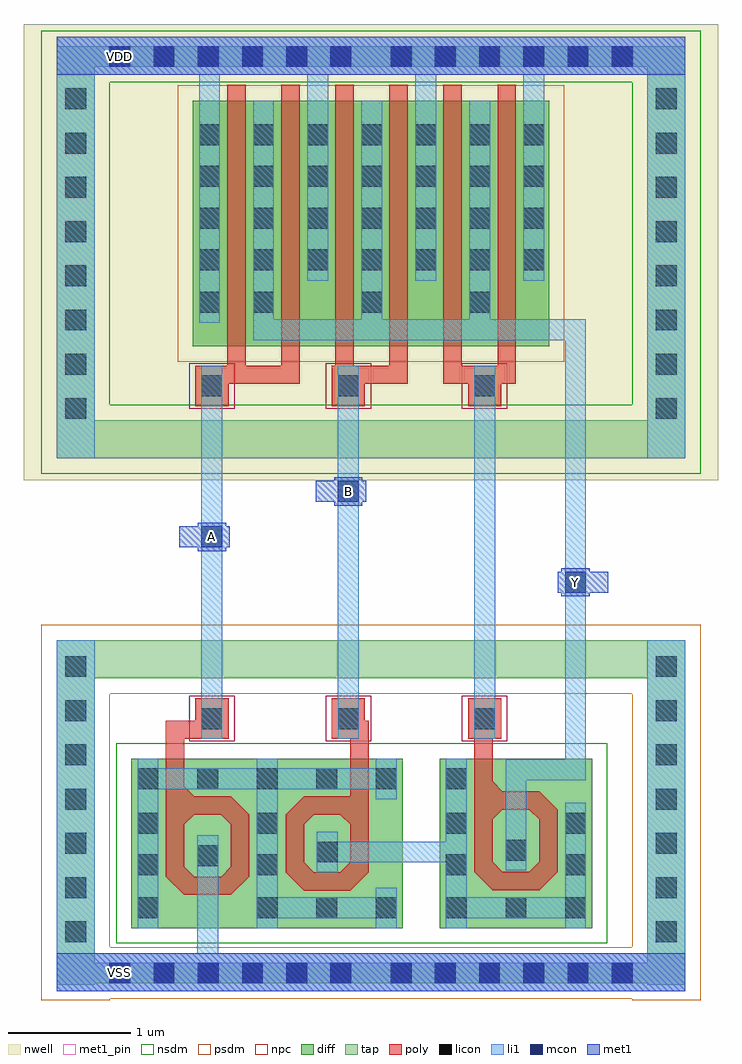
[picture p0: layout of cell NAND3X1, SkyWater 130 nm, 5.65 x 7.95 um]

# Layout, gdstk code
import gdstk
lib = gdstk.Library(unit=1e-6, precision=1e-09)
def R(c, l, rs):  # rectangles x0, y0, x1, y1
    for r in rs: c.add(gdstk.rectangle(r[:2], r[2:], *l))
def A(c, l, x, y, w, h, nx, ny, dx, dy):  # array of equal rectangles
    R(c, l, [(x+i*dx, y+j*dy, x+i*dx+w, y+j*dy+h) for i in range(nx) for j in range(ny)])
def P(c, l, *ps):  # polygons
    for p in ps: c.add(gdstk.Polygon(p, *l))
nwell = (64, 20)
diff = (65, 20)
tap = (65, 44)
poly = (66, 20)
licon = (66, 44)
li1 = (67, 20)
mcon = (67, 44)
met1_pin = (68, 16)
met1 = (68, 20)
nsdm = (93, 44)
psdm = (94, 20)
npc = (95, 20)

nand3x1 = lib.new_cell('NAND3X1')
R(nand3x1, nwell, [(-0.42,4.16,5.23,7.875)])
R(nand3x1, diff, [(0.455,0.515,2.665,1.895), (2.965,0.515,4.205,1.895), (0.955,5.25,3.855,7.25)])
R(nand3x1, tap, [(-0.155,0.055,0.155,0.065), (4.655,0.055,4.965,0.065), (-0.155,0.065,4.965,0.235), (-0.155,0.235,0.155,2.55), (4.655,0.235,4.965,2.55), (-0.155,2.55,4.965,2.86), (-0.155,4.34,4.965,4.65), (-0.155,4.65,0.155,7.525), (4.655,4.65,4.965,7.525), (-0.155,7.525,4.965,7.695)])
A(nand3x1, poly, 0.975, 4.765, 0.27, 0.18, 3, 1, 1.11, 0)
A(nand3x1, poly, 1.235, 5.095, 0.15, 2.285, 6, 1, 0.44, 0)
R(nand3x1, poly, [(0.885,0.785,1.265,0.935), (1.86,0.82,2.235,0.97), (3.395,0.825,3.775,0.975), (0.735,0.935,0.885,1.44), (1.265,0.935,1.415,1.44), (1.71,0.97,1.86,1.44), (2.235,0.97,2.385,1.44), (3.245,0.975,3.395,1.48), (3.775,0.975,3.925,1.48), (0.735,1.44,1.265,1.59), (1.86,1.44,2.385,1.59), (3.245,1.48,3.775,1.63), (0.735,1.59,0.885,2.055), (2.235,1.59,2.385,2.055), (3.245,1.63,3.395,2.055), (0.735,2.055,1.245,2.205), (2.085,2.055,2.385,2.205), (3.195,2.055,3.465,2.385), (0.975,2.205,1.245,2.385), (2.085,2.205,2.355,2.385), (0.975,4.945,1.825,5.095), (2.085,4.945,2.705,5.095), (2.995,4.945,3.585,5.095)])
P(nand3x1, poly, [(0.885,1.67),(0.885,1.59),(0.965,1.59)],
  [(1.265,1.59),(1.265,1.44),(1.415,1.44)],
  [(0.885,1.36),(0.885,1.44),(0.965,1.44)],
  [(1.185,1.44),(1.265,1.44),(1.265,1.36)],
  [(0.885,1.015),(0.885,0.935),(0.965,0.935)],
  [(1.185,0.935),(1.265,0.935),(1.265,1.015)],
  [(0.735,0.935),(0.885,0.935),(0.885,0.785)],
  [(1.265,0.785),(1.265,0.935),(1.415,0.935)],
  [(1.71,1.44),(1.86,1.44),(1.86,1.59)],
  [(1.86,1.36),(1.86,1.44),(1.94,1.44)],
  [(2.155,1.44),(2.235,1.44),(2.235,1.36)],
  [(1.86,1.05),(1.86,0.97),(1.94,0.97)],
  [(2.155,0.97),(2.235,0.97),(2.235,1.05)],
  [(1.71,0.97),(1.86,0.97),(1.86,0.82)],
  [(2.235,0.82),(2.235,0.97),(2.385,0.97)],
  [(3.395,1.71),(3.395,1.63),(3.475,1.63)],
  [(3.775,1.63),(3.775,1.48),(3.925,1.48)],
  [(3.395,1.4),(3.395,1.48),(3.475,1.48)],
  [(3.695,1.48),(3.775,1.48),(3.775,1.4)],
  [(3.395,1.055),(3.395,0.975),(3.475,0.975)],
  [(3.695,0.975),(3.775,0.975),(3.775,1.055)],
  [(3.245,0.975),(3.395,0.975),(3.395,0.825)],
  [(3.775,0.825),(3.775,0.975),(3.925,0.975)])
A(nand3x1, licon, 0.275, 0.065, 0.17, 0.17, 6, 2, 0.36, 7.46)
A(nand3x1, licon, 2.565, 0.065, 0.17, 0.17, 6, 2, 0.36, 7.46)
A(nand3x1, licon, -0.085, 0.4, 0.17, 0.17, 1, 7, 0, 0.36)
A(nand3x1, licon, 4.725, 0.4, 0.17, 0.17, 1, 7, 0, 0.36)
A(nand3x1, licon, 1.475, 0.595, 0.17, 0.17, 3, 1, 0.485, 0)
A(nand3x1, licon, 3.015, 0.595, 0.17, 0.17, 3, 1, 0.485, 0)
A(nand3x1, licon, 0.505, 1.645, 0.17, 0.17, 5, 1, 0.485, 0)
A(nand3x1, licon, 1.025, 2.135, 0.17, 0.17, 3, 2, 1.11, 2.71)
A(nand3x1, licon, -0.085, 4.66, 0.17, 0.17, 1, 8, 0, 0.36)
A(nand3x1, licon, 4.725, 4.66, 0.17, 0.17, 1, 8, 0, 0.36)
A(nand3x1, licon, 1.445, 5.525, 0.17, 0.17, 3, 1, 0.88, 0)
A(nand3x1, licon, 1.005, 5.87, 0.17, 0.17, 7, 4, 0.44, 0.34)
R(nand3x1, licon, [(0.505,0.595,0.675,0.765), (0.505,0.945,0.675,1.115), (1.475,0.945,1.645,1.115), (3.015,0.945,3.185,1.115), (3.985,0.945,4.155,1.115), (0.99,1.02,1.16,1.19), (1.965,1.05,2.135,1.22), (3.5,1.065,3.67,1.235), (0.505,1.285,0.675,1.455), (1.475,1.285,1.645,1.455), (3.015,1.285,3.185,1.455), (3.985,1.285,4.155,1.455), (3.015,1.645,3.185,1.815), (1.005,5.525,1.175,5.695)])
A(nand3x1, li1, 0.505, 1.815, 0.17, 0.08, 3, 1, 0.97, 0)
A(nand3x1, li1, 1.025, 2.055, 0.17, 3.04, 3, 1, 1.11, 0)
A(nand3x1, li1, 1.445, 5.47, 0.17, 1.78, 3, 1, 0.88, 0)
A(nand3x1, li1, 1.885, 5.785, 0.17, 1.675, 3, 1, 0.88, 0)
R(nand3x1, li1, [(-0.155,0,4.965,0.31), (-0.155,0.31,0.155,2.86), (0.99,0.31,1.16,1.27), (4.655,0.31,4.965,2.86), (0.505,0.515,0.675,1.645), (1.475,0.515,1.645,0.595), (2.445,0.515,2.615,0.595), (3.015,0.515,3.185,0.595), (3.985,0.515,4.155,0.595), (1.475,0.595,2.615,0.765), (3.015,0.595,4.155,0.765), (1.475,0.765,1.645,1.645), (2.445,0.765,2.615,0.845), (3.015,0.765,3.185,1.05), (3.985,0.765,4.155,1.535), (1.965,0.97,2.135,1.05), (3.5,0.985,3.67,1.72), (1.965,1.05,3.185,1.22), (1.965,1.22,2.135,1.3), (3.015,1.22,3.185,1.895), (2.445,1.565,2.615,1.645), (0.505,1.645,2.615,1.815), (3.5,1.72,4.155,1.89), (3.985,1.89,4.155,5.3), (-0.155,4.34,0.155,7.46), (4.655,4.34,4.965,7.46), (1.445,5.3,4.155,5.47), (1.005,5.445,1.175,7.46), (-0.155,7.46,4.965,7.77)])
A(nand3x1, mcon, 0.275, 0.065, 0.17, 0.17, 6, 2, 0.36, 7.46)
A(nand3x1, mcon, 2.565, 0.065, 0.17, 0.17, 6, 2, 0.36, 7.46)
R(nand3x1, mcon, [(3.985,3.245,4.155,3.415), (1.025,3.615,1.195,3.785), (2.135,3.985,2.305,4.155)])
R(nand3x1, met1_pin, [(0.275,0.065,0.445,0.235), (3.985,3.245,4.155,3.415), (1.025,3.615,1.195,3.785), (2.135,3.985,2.305,4.155), (0.275,7.525,0.445,7.695)])
R(nand3x1, met1, [(-0.155,0,4.965,0.31), (3.955,3.215,4.185,3.245), (3.925,3.245,4.335,3.415), (3.955,3.415,4.185,3.445), (0.995,3.585,1.225,3.615), (0.845,3.615,1.255,3.785), (0.995,3.785,1.225,3.815), (2.105,3.955,2.335,3.985), (1.955,3.985,2.365,4.155), (2.105,4.155,2.335,4.185), (-0.155,7.46,4.965,7.77)])
R(nand3x1, nsdm, [(0.33,0.39,4.33,2.02), (-0.28,4.215,5.09,4.775), (-0.28,4.775,0.28,7.4), (4.53,4.775,5.09,7.4), (-0.28,7.4,5.09,7.82)])
R(nand3x1, psdm, [(-0.28,-0.07,0.28,-0.06), (4.53,-0.07,5.09,-0.06), (-0.28,-0.06,5.09,0.36), (-0.28,0.36,0.28,2.425), (4.53,0.36,5.09,2.425), (-0.28,2.425,5.09,2.985), (0.83,5.125,3.98,7.375)])
A(nand3x1, npc, 0.925, 2.035, 0.37, 0.37, 3, 2, 1.11, 2.71)
nand3x1.add(gdstk.Label('Y', (4.07,3.33), layer=68, texttype=16))
nand3x1.add(gdstk.Label('A', (1.11,3.7), layer=68, texttype=16))
nand3x1.add(gdstk.Label('B', (2.22,4.07), layer=68, texttype=16))
nand3x1.add(gdstk.Label('VDD', (0.36,7.61), layer=68, texttype=16))
nand3x1.add(gdstk.Label('VSS', (0.36,0.15), layer=68, texttype=16))

lib.write_gds('NAND3X1.gds')
